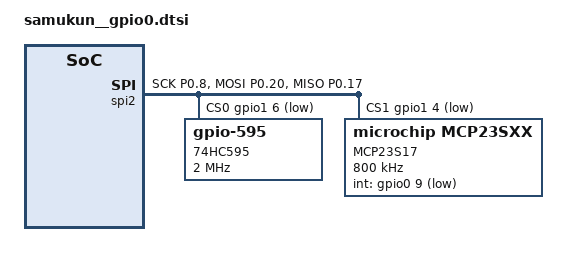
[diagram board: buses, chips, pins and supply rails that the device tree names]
/*
 * Copyright (c) 2020 Pete Johanson
 *
 * SPDX-License-Identifier: MIT
 */

&pinctrl {
	spi2_default: spi2_default {
		group1 {
			psels = <NRF_PSEL(SPIM_SCK, 0, 8)>,
							<NRF_PSEL(SPIM_MOSI, 0, 20)>,
							<NRF_PSEL(SPIM_MISO, 0, 17)>;
		};
	};
	spi2_sleep: spi2_sleep {
		group1 {
			psels = <NRF_PSEL(SPIM_SCK, 0, 8)>,
							<NRF_PSEL(SPIM_MOSI, 0, 20)>,
							<NRF_PSEL(SPIM_MISO, 0, 17)>;
			low-power-enable;
		};
	};
};

// // release gpio1 11 & 12 from xiao_ble-pinctrl.dtsi
// // for &trackball { irq-gpios }
// &uart0 {
// 	status = "disabled";
// };

&spi2 {
	compatible = "nordic,nrf-spim";
	status = "okay";
	pinctrl-0 = <&spi2_default>;
	pinctrl-1 = <&spi2_sleep>;
	pinctrl-names = "default", "sleep";
	cs-gpios = <&gpio1 6 GPIO_ACTIVE_LOW>,
						 <&gpio1 4 GPIO_ACTIVE_LOW>;

	sr0: 595@0 {
		compatible = "zmk,gpio-595";
		status = "okay";
		gpio-controller;
		spi-max-frequency = <2000000>;
		reg = <0>;
		label = "74HC595";
		#gpio-cells = <2>;
		ngpios = <24>;
	};

	expander: mcp23sxx@0 {
    compatible = "microchip,mcp23sxx";
    status = "okay";
    gpio-controller;
    spi-max-frequency = <800000>;
    reg = <1>;
    label = "MCP23S17";
    #gpio-cells = <2>;
    ngpios = <16>;
    int-gpios = <&gpio0 9 GPIO_ACTIVE_LOW>;
  };

};
